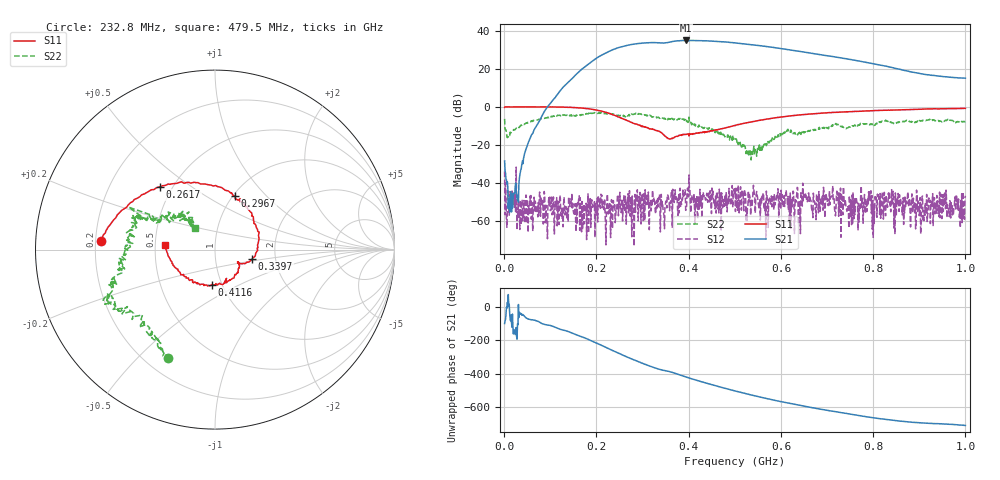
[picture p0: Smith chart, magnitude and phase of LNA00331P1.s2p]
! Created with skrf 1.9.0 (http://scikit-rf.org).
# Hz S RI R 50.0
!freq ReS11 ImS11 ReS21 ImS21 ReS12 ImS12 ReS22 ImS22
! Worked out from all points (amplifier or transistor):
!   1001 points, 1 MHz to 1 GHz, reference 50 ohm
!   highest |S21| = 34.9 dB at 394.6 MHz (marker M1)
!   |S21| within 3 dB of that: 259.9 MHz to 562.9 MHz (303 MHz wide, 73.7 % of centre)
!   unconditionally stable (mu >= 1): 211.8 MHz to 271.7 MHz; 271.7 MHz to 400.1 MHz; 401.4 MHz to end of sweep (the widest 3 of 30)
!   at 166.8 MHz: K = 2.08, MAG = 31.6 dB, |S12| = -55.6 dB
!   at 500.5 MHz: K = 1.51, MAG = 34.1 dB, |S12| = -43.0 dB
!   at 1 GHz: K = 2.32, MAG = 24.5 dB, |S12| = -46.7 dB
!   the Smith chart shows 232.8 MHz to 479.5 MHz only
!   S11 on the Smith chart (normalised r, x): 232.8 MHz: 0.22, +0.03; 261.7 MHz: 0.43, +0.38; 296.7 MHz: 1.03, +0.68; 339.7 MHz: 1.51, -0.17; 411.6 MHz: 0.90, -0.37; 479.5 MHz: 0.56, +0.03
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1000000  0.9733 -0.006  -0.00534 -0.0376  -0.0052 0.0194  0.3847 0.2929
1.08892e8  0.5068 -0.8549  -0.7956 -1.47  0.000149 0.000433  0.4251 -0.3728
1.67833e8  -0.263 -0.8928  -9.623 -0.5335  -7.43e-05 -0.000518  0.0431 -0.6272
2.06794e8  -0.6843 -0.4012  -15.53 14.54  0.00138 0.002  -0.1846 -0.6488
2.32768e8  -0.6367 0.0454  -6.696 29.92  0.000629 -0.00361  -0.2616 -0.6022
2.61739e8  -0.3047 0.3499  15.8 36.36  -0.00339 -0.000471  -0.412 -0.3885
2.96704e8  0.1127 0.2966  41.64 20.79  -0.000672 0.000507  -0.6009 -0.2573
3.16684e8  0.2231 0.1423  48.25 4.735  -0.00312 -0.00101  -0.5697 -0.1585
3.34666e8  0.2305 -0.0145  47.34 -9.617  -0.00399 -6.58e-06  -0.5327 -0.049
3.39661e8  0.2068 -0.0521  46.04 -12.71  -0.00225 0.00103  -0.5166 -0.0333
3.68632e8  0.1334 -0.0836  43.19 -30.54  0.0016 0.00263  -0.4516 0.1456
3.94606e8  0.0733 -0.1751  28 -47.84  0.00113 0.00201  -0.4078 0.1712
4.11589e8  -0.0162 -0.196  15.09 -52.99  0.00498 0.00169  -0.3016 0.1499
4.43557e8  -0.1751 -0.1442  -9.575 -52.78  0.00306 0.00444  -0.1914 0.1839
4.79521e8  -0.2778 0.026  -31.05 -39.96  0.00403 -0.000287  -0.1132 0.12
5.005e8  -0.2822 0.151  -38.57 -28.86  -0.000159 -0.00706  -0.1192 0.1014
5.4046e8  -0.1906 0.3661  -41.75 -6.996  0.00868 -0.000889  -0.0676 0.0295
5.88412e8  0.0344 0.5166  -33.32 12.57  0.000751 -0.00343  -0.1449 -0.0806
6.67333e8  0.4285 0.4912  -11.16 22.67  -0.00027 0.00194  -0.2456 -0.0343
7.53247e8  0.7034 0.2648  4.17 16.77  -0.000653 -0.000479  -0.3047 0.0457
8.34166e8  0.817 -0.0116  8.227 7.66  0.0013 -0.00364  -0.3951 0.0904
1e9  0.7184 -0.5639  5.612 0.9314  5.65e-05 0.00462  -0.1467 0.3767
